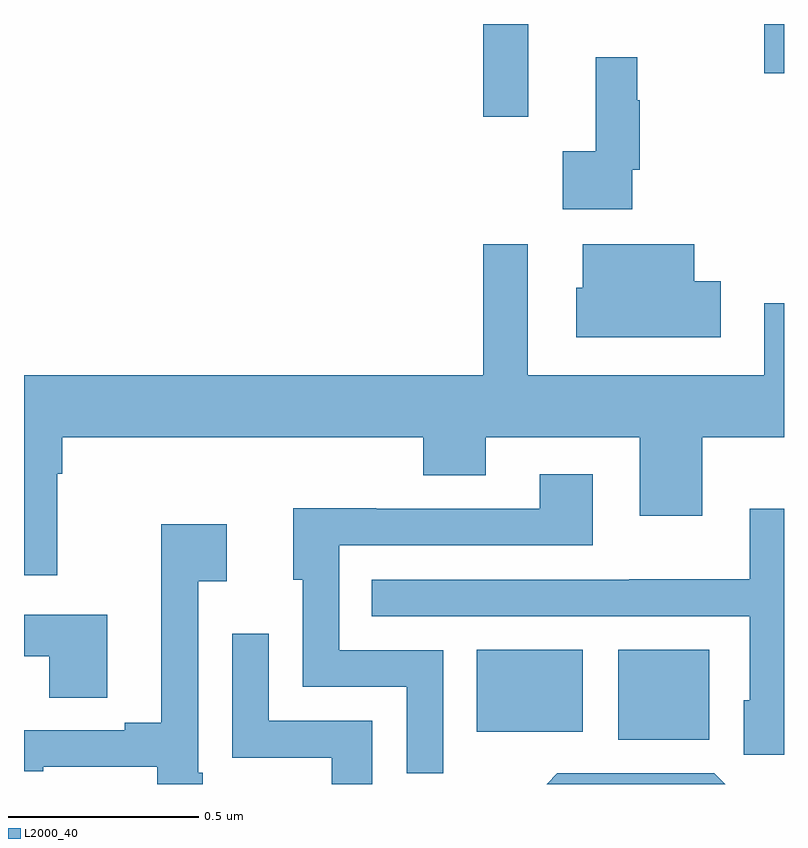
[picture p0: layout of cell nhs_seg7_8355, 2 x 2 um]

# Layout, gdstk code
import gdstk
lib = gdstk.Library(unit=1e-6, precision=1e-09)
def R(c, l, rs):  # rectangles x0, y0, x1, y1
    for r in rs: c.add(gdstk.rectangle(r[:2], r[2:], *l))
def P(c, l, *ps):  # polygons
    for p in ps: c.add(gdstk.Polygon(p, *l))
L2000_40 = (2000, 40)

nhs_seg7_8355 = lib.new_cell('nhs_seg7_8355')
R(nhs_seg7_8355, L2000_40, [(224.564,1037.117,224.803,1037.353), (224.192,1037.138,224.47,1037.353), (224.209,1038.756,224.327,1039), (224.948,1038.87,225,1039)])
P(nhs_seg7_8355, L2000_40, [(224.601,1038.616),(224.621,1038.616),(224.621,1038.8),(224.614,1038.8),(224.614,1038.913),(224.504,1038.913),(224.504,1038.665),(224.418,1038.665),(224.418,1038.512),(224.601,1038.512)],
  [(223.087,1037.816),(223.1,1037.816),(223.1,1037.912),(224.051,1037.912),(224.051,1037.813),(224.215,1037.813),(224.215,1037.912),(224.621,1037.912),(224.621,1037.706),(224.785,1037.706),(224.785,1037.912),(225,1037.912),(225,1038.265),(224.948,1038.265),(224.948,1038.076),(224.325,1038.076),(224.325,1038.421),(224.209,1038.421),(224.209,1038.076),(223,1038.076),(223,1037.55),(223.087,1037.55)],
  [(224.833,1038.323),(224.764,1038.323),(224.764,1038.421),(224.471,1038.421),(224.471,1038.306),(224.453,1038.306),(224.453,1038.176),(224.833,1038.176)],
  [(224.103,1037.352),(223.83,1037.352),(223.83,1037.628),(224.497,1037.628),(224.497,1037.815),(224.357,1037.815),(224.357,1037.724),(223.927,1037.724),(223.927,1037.726),(223.709,1037.726),(223.709,1037.538),(223.734,1037.538),(223.734,1037.256),(224.007,1037.256),(224.007,1037.028),(224.103,1037.028)],
  [(225,1037.725),(224.91,1037.725),(224.91,1037.539),(224.593,1037.539),(224.593,1037.538),(223.915,1037.538),(223.915,1037.442),(224.91,1037.442),(224.91,1037.22),(224.894,1037.22),(224.894,1037.077),(225,1037.077)],
  [(223.471,1037.029),(223.458,1037.029),(223.458,1037.534),(223.534,1037.534),(223.534,1037.683),(223.361,1037.683),(223.361,1037.161),(223.265,1037.161),(223.265,1037.142),(223,1037.142),(223,1037.034),(223.051,1037.034),(223.051,1037.045),(223.35,1037.045),(223.35,1037),(223.471,1037)],
  [(223.219,1037.446),(223,1037.446),(223,1037.336),(223.067,1037.336),(223.067,1037.227),(223.219,1037.227)],
  [(223.917,1037.166),(223.644,1037.166),(223.644,1037.395),(223.548,1037.395),(223.548,1037.069),(223.81,1037.069),(223.81,1037),(223.917,1037)],
  [(224.817,1037.028),(224.403,1037.028),(224.375,1037),(224.845,1037)])

lib.write_gds('nhs_seg7_8355.gds')
